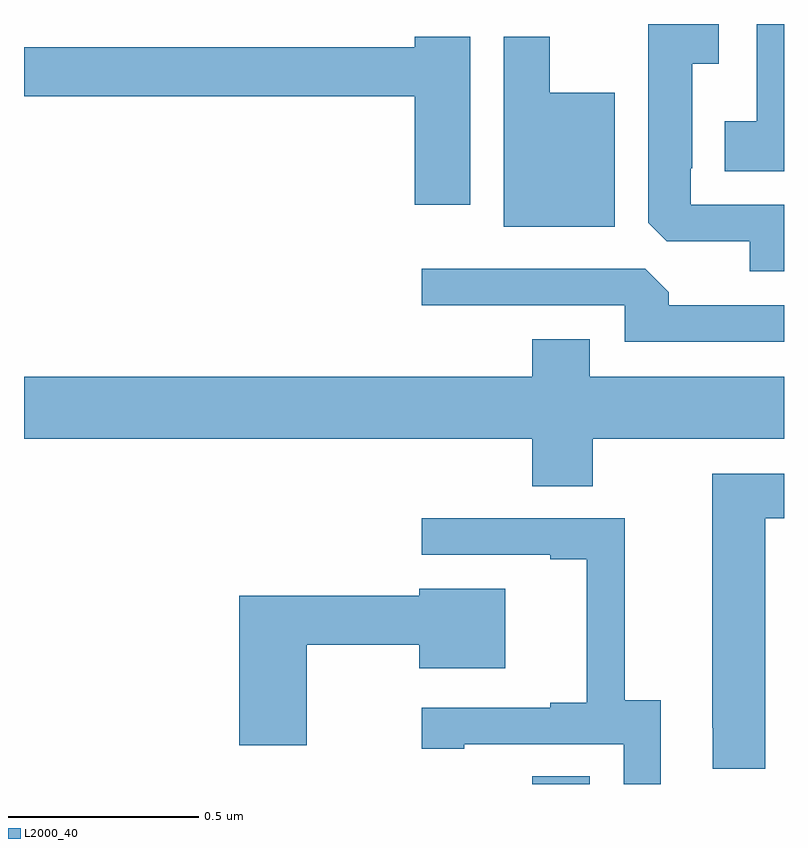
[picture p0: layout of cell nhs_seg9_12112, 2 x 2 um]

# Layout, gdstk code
import gdstk
lib = gdstk.Library(unit=1e-6, precision=1e-09)
def R(c, l, rs):  # rectangles x0, y0, x1, y1
    for r in rs: c.add(gdstk.rectangle(r[:2], r[2:], *l))
def P(c, l, *ps):  # polygons
    for p in ps: c.add(gdstk.Polygon(p, *l))
L2000_40 = (2000, 40)

nhs_seg9_12112 = lib.new_cell('nhs_seg9_12112')
R(nhs_seg9_12112, L2000_40, [(265.337,1207.5,265.489,1207.52)])
P(nhs_seg9_12112, L2000_40, [(266,1209.5),(265.928,1209.5),(265.928,1209.244),(265.844,1209.244),(265.844,1209.113),(266,1209.113)],
  [(266,1209.024),(265.755,1209.024),(265.755,1209.121),(265.759,1209.121),(265.759,1209.395),(265.828,1209.395),(265.828,1209.5),(265.643,1209.5),(265.643,1208.977),(265.692,1208.928),(265.91,1208.928),(265.91,1208.849),(266,1208.849)],
  [(265.555,1209.319),(265.384,1209.319),(265.384,1209.466),(265.262,1209.466),(265.262,1208.966),(265.555,1208.966)],
  [(265.174,1209.466),(265.028,1209.466),(265.028,1209.439),(264,1209.439),(264,1209.31),(265.028,1209.31),(265.028,1209.024),(265.174,1209.024)],
  [(266,1208.76),(265.697,1208.76),(265.697,1208.794),(265.635,1208.856),(265.047,1208.856),(265.047,1208.76),(265.581,1208.76),(265.581,1208.664),(266,1208.664)],
  [(265.497,1208.408),(266,1208.408),(266,1208.572),(265.489,1208.572),(265.489,1208.671),(265.337,1208.671),(265.337,1208.572),(264,1208.572),(264,1208.408),(265.337,1208.408),(265.337,1208.284),(265.497,1208.284)],
  [(265.951,1208.2),(266,1208.2),(266,1208.316),(265.811,1208.316),(265.811,1207.648),(265.812,1207.648),(265.812,1207.54),(265.951,1207.54)],
  [(265.675,1207.721),(265.581,1207.721),(265.581,1208.199),(265.047,1208.199),(265.047,1208.103),(265.385,1208.103),(265.385,1208.091),(265.481,1208.091),(265.481,1207.714),(265.385,1207.714),(265.385,1207.701),(265.047,1207.701),(265.047,1207.593),(265.159,1207.593),(265.159,1207.605),(265.578,1207.605),(265.578,1207.5),(265.675,1207.5)],
  [(264.744,1207.867),(265.04,1207.867),(265.04,1207.805),(265.267,1207.805),(265.267,1208.014),(265.04,1208.014),(265.04,1207.996),(264.566,1207.996),(264.566,1207.602),(264.744,1207.602)])

lib.write_gds('nhs_seg9_12112.gds')
